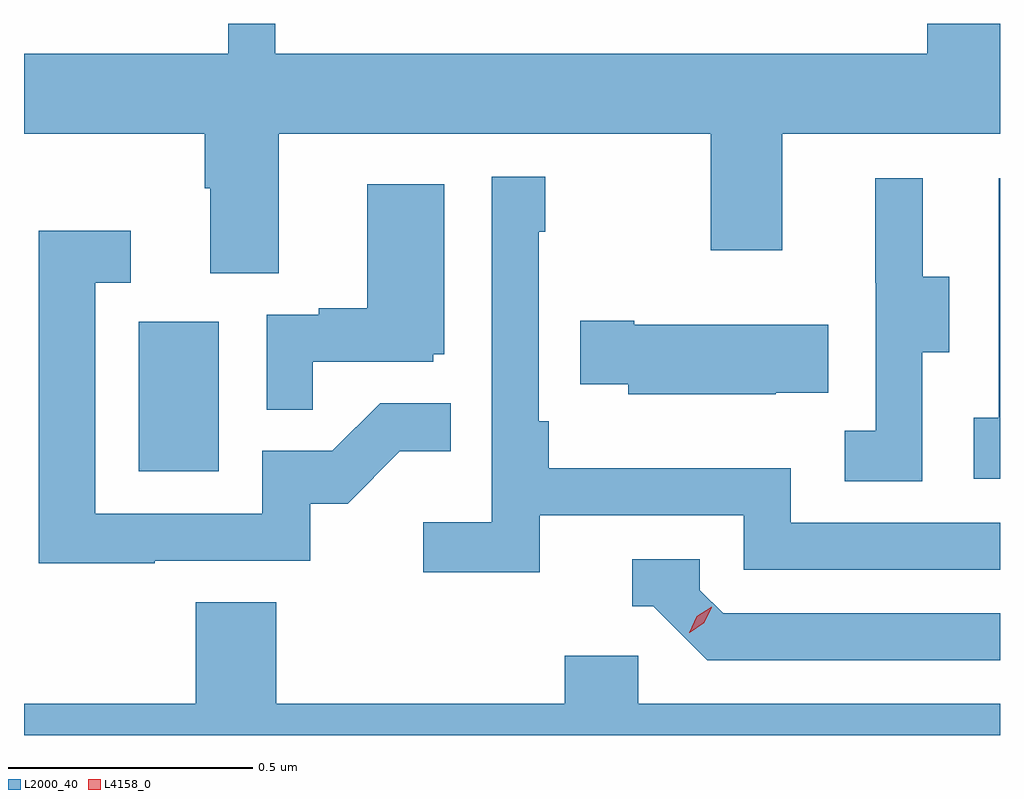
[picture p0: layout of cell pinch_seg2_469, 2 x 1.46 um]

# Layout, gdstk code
import gdstk
lib = gdstk.Library(unit=1e-6, precision=1e-09)
def R(c, l, rs):  # rectangles x0, y0, x1, y1
    for r in rs: c.add(gdstk.rectangle(r[:2], r[2:], *l))
def P(c, l, *ps):  # polygons
    for p in ps: c.add(gdstk.Polygon(p, *l))
L2000_40 = (2000, 40)
L4158_0 = (4158, 0)

pinch_seg2_469 = lib.new_cell('pinch_seg2_469')
R(pinch_seg2_469, L2000_40, [(912.794,584.34,912.958,584.647)])
P(pinch_seg2_469, L2000_40, [(913.081,585.032),(913.966,585.032),(913.966,584.793),(914.113,584.793),(914.113,585.032),(914.559,585.032),(914.559,585.257),(914.41,585.257),(914.41,585.196),(913.074,585.196),(913.074,585.257),(912.978,585.257),(912.978,585.196),(912.559,585.196),(912.559,585.032),(912.929,585.032),(912.929,584.92),(912.941,584.92),(912.941,584.746),(913.081,584.746)],
  [(913.616,584.25),(914.034,584.25),(914.034,584.139),(914.559,584.139),(914.559,584.235),(914.13,584.235),(914.13,584.347),(913.634,584.347),(913.634,584.443),(913.614,584.443),(913.614,584.831),(913.627,584.831),(913.627,584.944),(913.518,584.944),(913.518,584.236),(913.377,584.236),(913.377,584.134),(913.616,584.134)],
  [(914.559,584.941),(914.556,584.941),(914.556,584.45),(914.505,584.45),(914.505,584.325),(914.559,584.325)],
  [(914.4,584.584),(914.455,584.584),(914.455,584.739),(914.401,584.739),(914.401,584.941),(914.303,584.941),(914.303,584.727),(914.304,584.727),(914.304,584.423),(914.241,584.423),(914.241,584.32),(914.4,584.32)],
  [(913.151,584.565),(913.398,584.565),(913.398,584.58),(913.42,584.58),(913.42,584.929),(913.262,584.929),(913.262,584.674),(913.163,584.674),(913.163,584.661),(913.056,584.661),(913.056,584.467),(913.151,584.467)],
  [(912.827,584.157),(913.146,584.157),(913.146,584.274),(913.222,584.274),(913.329,584.381),(913.433,584.381),(913.433,584.48),(913.289,584.48),(913.191,584.382),(913.047,584.382),(913.047,584.253),(912.705,584.253),(912.705,584.727),(912.778,584.727),(912.778,584.833),(912.589,584.833),(912.589,584.152),(912.827,584.152)],
  [(914.099,584.501),(914.207,584.501),(914.207,584.641),(913.81,584.641),(913.81,584.649),(913.699,584.649),(913.699,584.519),(913.797,584.519),(913.797,584.498),(914.099,584.498)],
  [(914.559,584.049),(913.992,584.049),(913.944,584.097),(913.944,584.16),(913.805,584.16),(913.805,584.064),(913.848,584.064),(913.959,583.953),(914.559,583.953)],
  [(914.559,583.864),(913.818,583.864),(913.818,583.962),(913.667,583.962),(913.667,583.864),(913.076,583.864),(913.076,584.072),(912.911,584.072),(912.911,583.864),(912.559,583.864),(912.559,583.8),(914.559,583.8)])
P(pinch_seg2_469, L4158_0, [(913.922,584.01),(913.922,584.01),(913.938,584.043),(913.968,584.063),(913.968,584.063),(913.968,584.062),(913.953,584.03),(913.923,584.01)])

lib.write_gds('pinch_seg2_469.gds')
